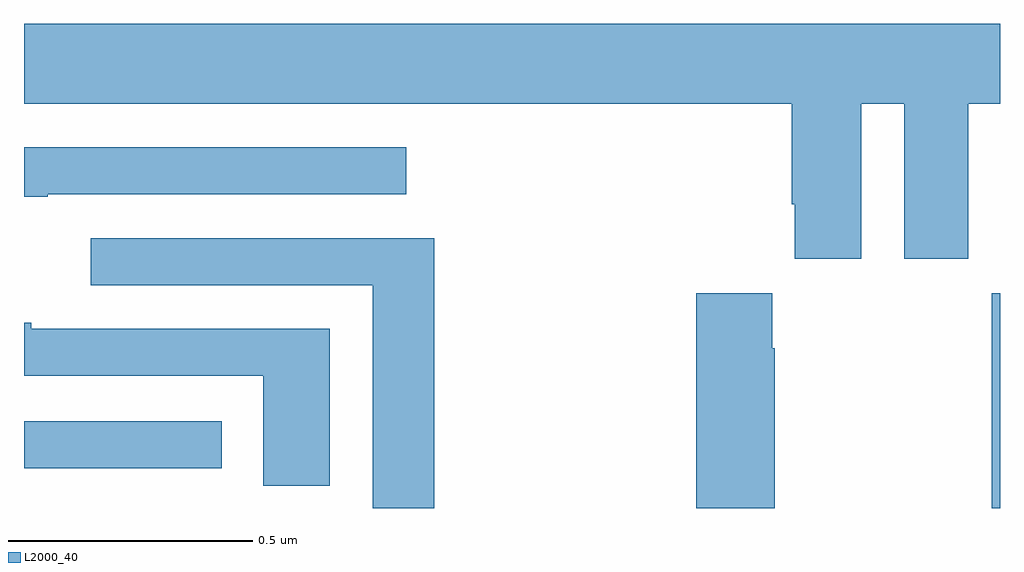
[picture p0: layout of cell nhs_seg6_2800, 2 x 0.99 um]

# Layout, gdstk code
import gdstk
lib = gdstk.Library(unit=1e-6, precision=1e-09)
def R(c, l, rs):  # rectangles x0, y0, x1, y1
    for r in rs: c.add(gdstk.rectangle(r[:2], r[2:], *l))
def P(c, l, *ps):  # polygons
    for p in ps: c.add(gdstk.Polygon(p, *l))
L2000_40 = (2000, 40)

nhs_seg6_2800 = lib.new_cell('nhs_seg6_2800')
R(nhs_seg6_2800, L2000_40, [(149.983,954.5,150,954.94), (148,954.582,148.405,954.678)])
P(nhs_seg6_2800, L2000_40, [(149.716,955.328),(149.804,955.328),(149.804,955.011),(149.935,955.011),(149.935,955.328),(150,955.328),(150,955.492),(148,955.492),(148,955.328),(149.573,955.328),(149.573,955.123),(149.579,955.123),(149.579,955.011),(149.716,955.011)],
  [(148.049,955.143),(148.783,955.143),(148.783,955.239),(148,955.239),(148,955.138),(148.049,955.138)],
  [(148.841,955.053),(148.137,955.053),(148.137,954.957),(148.715,954.957),(148.715,954.5),(148.841,954.5)],
  [(149.538,954.827),(149.533,954.827),(149.533,954.94),(149.378,954.94),(149.378,954.5),(149.538,954.5)],
  [(148.627,954.867),(148.015,954.867),(148.015,954.88),(148,954.88),(148,954.771),(148.49,954.771),(148.49,954.546),(148.627,954.546)])

lib.write_gds('nhs_seg6_2800.gds')
